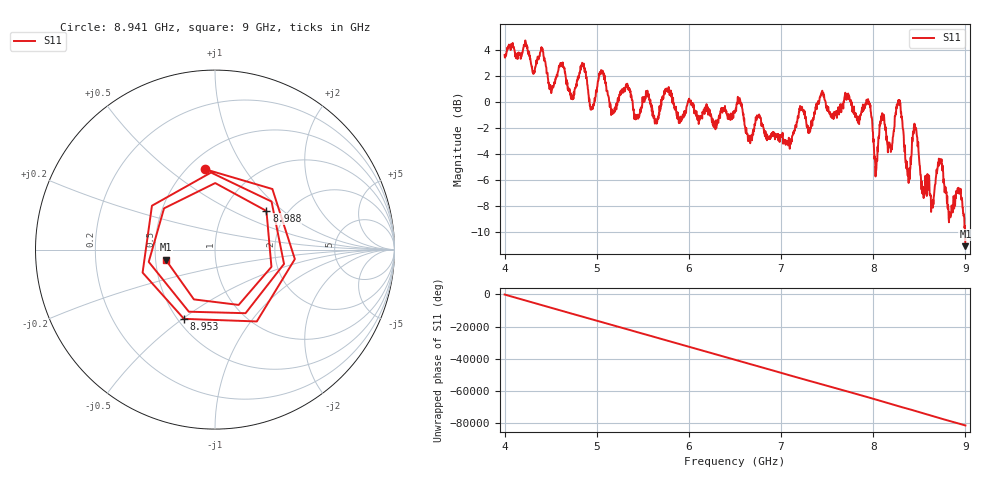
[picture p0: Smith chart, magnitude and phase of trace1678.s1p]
! Created with skrf 1.8.0 (http://scikit-rf.org).
# Hz S RI R 50.0
!freq ReS11 ImS11
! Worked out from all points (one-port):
!   1601 points, 4 GHz to 9 GHz, reference 50 ohm
!   lowest |S11| = -11.1 dB at 9 GHz (marker M1), VSWR 1.78, Z = 28.3 - j3.47 ohm
!   |S11| at or under -10 dB: 8.995641 GHz to end of sweep
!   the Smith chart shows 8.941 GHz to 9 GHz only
!   S11 on the Smith chart (normalised r, x): 8.941 GHz: 0.60, +0.68; 8.953 GHz: 0.54, -0.51; 8.988 GHz: 1.57, +0.78; 9 GHz: 0.57, -0.07
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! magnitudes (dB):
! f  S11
! 4 GHz  3.6
! 4.506 GHz  0.7
! 4.625 GHz  3.0
! 4.734 GHz  0.3
! 4.856 GHz  2.7
! 4.947 GHz  -0.6
! 5.05 GHz  2.4
! 5.166 GHz  -0.8
! 5.25 GHz  0.5
! 5.875 GHz  -1.3
! 6.5 GHz  -0.8
! 7.125 GHz  -2.6
! 7.75 GHz  0.0
! 7.95 GHz  0.1
! 8.028 GHz  -4.9
! 8.094 GHz  -1.0
! 8.184 GHz  -3.3
! 8.278 GHz  0.1
! 8.375 GHz  -5.7
! 8.453 GHz  -1.8
! 8.538 GHz  -6.8
! 8.638 GHz  -7.8
! 8.728 GHz  -4.4
! 8.831 GHz  -8.6
! 8.941 GHz  -6.9
! 8.953 GHz  -7.5
! 8.988 GHz  -8.9
! 9 GHz  -11.1
